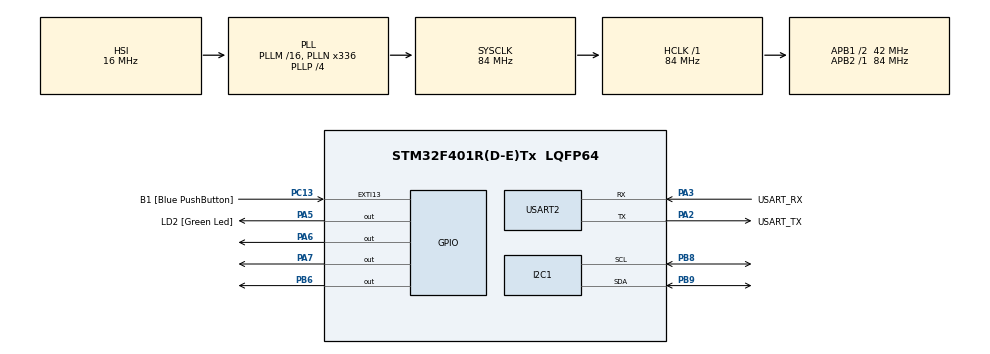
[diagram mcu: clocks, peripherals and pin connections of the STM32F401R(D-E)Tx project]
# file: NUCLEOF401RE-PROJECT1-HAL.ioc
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Mcu.Family=STM32F4
Mcu.Name=STM32F401R(D-E)Tx
Mcu.Package=LQFP64
NVIC.PriorityGroup=NVIC_PRIORITYGROUP_0
PA13.GPIO_Label=TMS
PA13.Mode=Serial_Wire
PA13.Signal=SYS_JTMS-SWDIO
PA14.GPIO_Label=TCK
PA14.Mode=Serial_Wire
PA14.Signal=SYS_JTCK-SWCLK
PA2.GPIO_Label=USART_TX
PA2.GPIO_Mode=GPIO_MODE_AF_PP
PA2.GPIO_PuPd=GPIO_NOPULL
PA2.GPIO_Speed=GPIO_SPEED_FREQ_LOW
PA2.Mode=Asynchronous
PA2.Signal=USART2_TX
PA3.GPIO_Label=USART_RX
PA3.GPIO_Mode=GPIO_MODE_AF_PP
PA3.GPIO_PuPd=GPIO_NOPULL
PA3.GPIO_Speed=GPIO_SPEED_FREQ_LOW
PA3.Mode=Asynchronous
PA3.Signal=USART2_RX
PA5.GPIO_Label=LD2 [Green Led]
PA5.GPIO_Mode=GPIO_MODE_OUTPUT_PP
PA5.GPIO_PuPd=GPIO_NOPULL
PA5.GPIO_Speed=GPIO_SPEED_FREQ_LOW
PA5.Signal=GPIO_Output
PA6.Signal=GPIO_Output
PA7.Signal=GPIO_Output
PB3.GPIO_Label=SWO
PB3.Signal=SYS_JTDO-SWO
PB6.Signal=GPIO_Output
PB8.Mode=I2C
PB8.Signal=I2C1_SCL
PB9.Mode=I2C
PB9.Signal=I2C1_SDA
PC13-ANTI_TAMP.GPIO_Label=B1 [Blue PushButton]
PC13-ANTI_TAMP.GPIO_ModeDefaultEXTI=GPIO_MODE_IT_FALLING
PC13-ANTI_TAMP.GPIO_PuPd=GPIO_NOPULL
PC13-ANTI_TAMP.Signal=GPXTI13
PC14-OSC32_IN.Mode=LSE-External-Oscillator
PC14-OSC32_IN.Signal=RCC_OSC32_IN
PC15-OSC32_OUT.Mode=LSE-External-Oscillator
PC15-OSC32_OUT.Signal=RCC_OSC32_OUT
PH0\ -\ OSC_IN.Mode=HSE-External-Clock-Source
PH0\ -\ OSC_IN.Signal=RCC_OSC_IN
PH1\ -\ OSC_OUT.Mode=HSE-External-Clock-Source
PH1\ -\ OSC_OUT.Signal=RCC_OSC_OUT
ProjectManager.HeapSize=0x200
ProjectManager.StackSize=0x400
ProjectManager.TargetToolchain=Makefile
RCC.48MHZClocksFreq_Value=48000000
RCC.AHBFreq_Value=84000000
RCC.APB1CLKDivider=RCC_HCLK_DIV2
RCC.APB1Freq_Value=42000000
RCC.APB1TimFreq_Value=84000000
RCC.APB2Freq_Value=84000000
RCC.APB2TimFreq_Value=84000000
RCC.CortexFreq_Value=84000000
RCC.HCLKFreq_Value=84000000
RCC.HSE_VALUE=8000000
RCC.HSI_VALUE=16000000
RCC.PLLN=336
RCC.PLLP=RCC_PLLP_DIV4
RCC.PLLQ=7
RCC.SYSCLKFreq_VALUE=84000000
RCC.SYSCLKSource=RCC_SYSCLKSOURCE_PLLCLK
RCC.VCOOutputFreq_Value=336000000
USART2.VirtualMode=VM_ASYNC
board=NUCLEO-F401RE

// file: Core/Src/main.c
/* USER CODE BEGIN Header */
/**
  ******************************************************************************
  * @file           : main.c
  * @brief          : Main program body
  ******************************************************************************
  * @attention
  *
  * <h2><center>&copy; Copyright (c) 2020 STMicroelectronics.
  * All rights reserved.</center></h2>
  *
  * This software component is licensed by ST under BSD 3-Clause license,
  * the "License"; You may not use this file except in compliance with the
  * License. You may obtain a copy of the License at:
  *                        opensource.org/licenses/BSD-3-Clause
  *
  ******************************************************************************
  */
/* USER CODE END Header */
#include "main.h"

/* USER CODE BEGIN Includes */
#include "string.h"
/* USER CODE END Includes */

I2C_HandleTypeDef hi2c1;

UART_HandleTypeDef huart2;

void SystemClock_Config(void);
static void MX_GPIO_Init(void);
static void MX_I2C1_Init(void);
static void MX_USART2_UART_Init(void);

void pattern_led(void);

int main(void)
{
  /* USER CODE BEGIN 1 */
  uint8_t buf[12];
  /* USER CODE END 1 */

  /* MCU Configuration--------------------------------------------------------*/

  /* Reset of all peripherals, Initializes the Flash interface and the Systick. */
  HAL_Init();

  /* Configure the system clock */
  SystemClock_Config();

  /* Initialize all configured peripherals */
  MX_GPIO_Init();
  MX_I2C1_Init();
  MX_USART2_UART_Init();
  /* USER CODE BEGIN 2 */
  HAL_GPIO_TogglePin(GPIOA, GPIO_PIN_5);
  HAL_GPIO_TogglePin(GPIOA, GPIO_PIN_6);
  HAL_GPIO_TogglePin(GPIOA, GPIO_PIN_7);
  HAL_GPIO_TogglePin(GPIOB, GPIO_PIN_6);
  /* USER CODE END 2 */

  /* Infinite loop */
  /* USER CODE BEGIN WHILE */
  while (1)
  {
    strcpy((char*)buf, "Pattern starts \r\n");
    HAL_UART_Transmit(&huart2, buf, strlen((char*)buf), HAL_MAX_DELAY);

     pattern_led();

    strcpy((char*)buf, "Pattern ends \r\n");
    HAL_UART_Transmit(&huart2, buf, strlen((char*)buf), HAL_MAX_DELAY);

    /* USER CODE END WHILE */

  }
}

void SystemClock_Config(void)
{
  RCC_OscInitTypeDef RCC_OscInitStruct = {0};
  RCC_ClkInitTypeDef RCC_ClkInitStruct = {0};

  /** Configure the main internal regulator output voltage
  */
  __HAL_RCC_PWR_CLK_ENABLE();
  __HAL_PWR_VOLTAGESCALING_CONFIG(PWR_REGULATOR_VOLTAGE_SCALE2);
  /** Initializes the RCC Oscillators according to the specified parameters
  * in the RCC_OscInitTypeDef structure.
  */
  RCC_OscInitStruct.OscillatorType = RCC_OSCILLATORTYPE_HSI;
  RCC_OscInitStruct.HSIState = RCC_HSI_ON;
  RCC_OscInitStruct.HSICalibrationValue = RCC_HSICALIBRATION_DEFAULT;
  RCC_OscInitStruct.PLL.PLLState = RCC_PLL_ON;
  RCC_OscInitStruct.PLL.PLLSource = RCC_PLLSOURCE_HSI;
  RCC_OscInitStruct.PLL.PLLM = 16;
  RCC_OscInitStruct.PLL.PLLN = 336;
  RCC_OscInitStruct.PLL.PLLP = RCC_PLLP_DIV4;
  RCC_OscInitStruct.PLL.PLLQ = 7;
  if (HAL_RCC_OscConfig(&RCC_OscInitStruct) != HAL_OK)
  {
    Error_Handler();
  }
  /** Initializes the CPU, AHB and APB buses clocks
  */
  RCC_ClkInitStruct.ClockType = RCC_CLOCKTYPE_HCLK|RCC_CLOCKTYPE_SYSCLK
                              |RCC_CLOCKTYPE_PCLK1|RCC_CLOCKTYPE_PCLK2;
  RCC_ClkInitStruct.SYSCLKSource = RCC_SYSCLKSOURCE_PLLCLK;
  RCC_ClkInitStruct.AHBCLKDivider = RCC_SYSCLK_DIV1;
  RCC_ClkInitStruct.APB1CLKDivider = RCC_HCLK_DIV2;
  RCC_ClkInitStruct.APB2CLKDivider = RCC_HCLK_DIV1;

  if (HAL_RCC_ClockConfig(&RCC_ClkInitStruct, FLASH_LATENCY_2) != HAL_OK)
  {
    Error_Handler();
  }
}

static void MX_I2C1_Init(void)
{

  hi2c1.Instance = I2C1;
  hi2c1.Init.ClockSpeed = 100000;
  hi2c1.Init.DutyCycle = I2C_DUTYCYCLE_2;
  hi2c1.Init.OwnAddress1 = 0;
  hi2c1.Init.AddressingMode = I2C_ADDRESSINGMODE_7BIT;
  hi2c1.Init.DualAddressMode = I2C_DUALADDRESS_DISABLE;
  hi2c1.Init.OwnAddress2 = 0;
  hi2c1.Init.GeneralCallMode = I2C_GENERALCALL_DISABLE;
  hi2c1.Init.NoStretchMode = I2C_NOSTRETCH_DISABLE;
  if (HAL_I2C_Init(&hi2c1) != HAL_OK)
  {
    Error_Handler();
  }

}

static void MX_USART2_UART_Init(void)
{

  huart2.Instance = USART2;
  huart2.Init.BaudRate = 115200;
  huart2.Init.WordLength = UART_WORDLENGTH_8B;
  huart2.Init.StopBits = UART_STOPBITS_1;
  huart2.Init.Parity = UART_PARITY_NONE;
  huart2.Init.Mode = UART_MODE_TX_RX;
  huart2.Init.HwFlowCtl = UART_HWCONTROL_NONE;
  huart2.Init.OverSampling = UART_OVERSAMPLING_16;
  if (HAL_UART_Init(&huart2) != HAL_OK)
  {
    Error_Handler();
  }

}

static void MX_GPIO_Init(void)
{
  GPIO_InitTypeDef GPIO_InitStruct = {0};

  /* GPIO Ports Clock Enable */
  __HAL_RCC_GPIOC_CLK_ENABLE();
  __HAL_RCC_GPIOH_CLK_ENABLE();
  __HAL_RCC_GPIOA_CLK_ENABLE();
  __HAL_RCC_GPIOB_CLK_ENABLE();

  /*Configure GPIO pin Output Level */
  HAL_GPIO_WritePin(GPIOA, LD2_Pin|GPIO_PIN_6|GPIO_PIN_7, GPIO_PIN_RESET);

  /*Configure GPIO pin Output Level */
  HAL_GPIO_WritePin(GPIOB, GPIO_PIN_6, GPIO_PIN_RESET);

  /*Configure GPIO pin : B1_Pin */
  GPIO_InitStruct.Pin = B1_Pin;
  GPIO_InitStruct.Mode = GPIO_MODE_IT_FALLING;
  GPIO_InitStruct.Pull = GPIO_NOPULL;
  HAL_GPIO_Init(B1_GPIO_Port, &GPIO_InitStruct);

  /*Configure GPIO pins : LD2_Pin PA6 PA7 */
  GPIO_InitStruct.Pin = LD2_Pin|GPIO_PIN_6|GPIO_PIN_7;
  GPIO_InitStruct.Mode = GPIO_MODE_OUTPUT_PP;
  GPIO_InitStruct.Pull = GPIO_NOPULL;
  GPIO_InitStruct.Speed = GPIO_SPEED_FREQ_LOW;
  HAL_GPIO_Init(GPIOA, &GPIO_InitStruct);

  /*Configure GPIO pin : PB6 */
  GPIO_InitStruct.Pin = GPIO_PIN_6;
  GPIO_InitStruct.Mode = GPIO_MODE_OUTPUT_PP;
  GPIO_InitStruct.Pull = GPIO_NOPULL;
  GPIO_InitStruct.Speed = GPIO_SPEED_FREQ_LOW;
  HAL_GPIO_Init(GPIOB, &GPIO_InitStruct);

}

/* USER CODE BEGIN 4 */
void pattern_led(void)
{
    // go forward
    HAL_GPIO_TogglePin(GPIOA, GPIO_PIN_5);
    HAL_Delay(500);
    HAL_GPIO_TogglePin(GPIOA, GPIO_PIN_5);
    HAL_Delay(500);
    HAL_GPIO_TogglePin(GPIOA, GPIO_PIN_6);
    HAL_Delay(500);
    HAL_GPIO_TogglePin(GPIOA, GPIO_PIN_6);
    HAL_Delay(500);
    HAL_GPIO_TogglePin(GPIOA, GPIO_PIN_7);
    HAL_Delay(500);
    HAL_GPIO_TogglePin(GPIOA, GPIO_PIN_7);
    HAL_Delay(500);
    HAL_GPIO_TogglePin(GPIOB, GPIO_PIN_6);
    HAL_Delay(500);
    HAL_GPIO_TogglePin(GPIOB, GPIO_PIN_6);
    HAL_Delay(500);
    //go backward
    HAL_GPIO_TogglePin(GPIOB, GPIO_PIN_6);
    HAL_Delay(500);
    HAL_GPIO_TogglePin(GPIOB, GPIO_PIN_6);
    HAL_Delay(500);
    HAL_GPIO_TogglePin(GPIOA, GPIO_PIN_7);
    HAL_Delay(500);
    HAL_GPIO_TogglePin(GPIOA, GPIO_PIN_7);
    HAL_Delay(500);
    HAL_GPIO_TogglePin(GPIOA, GPIO_PIN_6);
    HAL_Delay(500);
    HAL_GPIO_TogglePin(GPIOA, GPIO_PIN_6);
    HAL_Delay(500);
    HAL_GPIO_TogglePin(GPIOA, GPIO_PIN_5);
    HAL_Delay(500);
    HAL_GPIO_TogglePin(GPIOA, GPIO_PIN_5);
    HAL_Delay(500);

}

/* USER CODE END 4 */

void Error_Handler(void)
{
}

/************************ (C) COPYRIGHT STMicroelectronics *****END OF FILE****/
